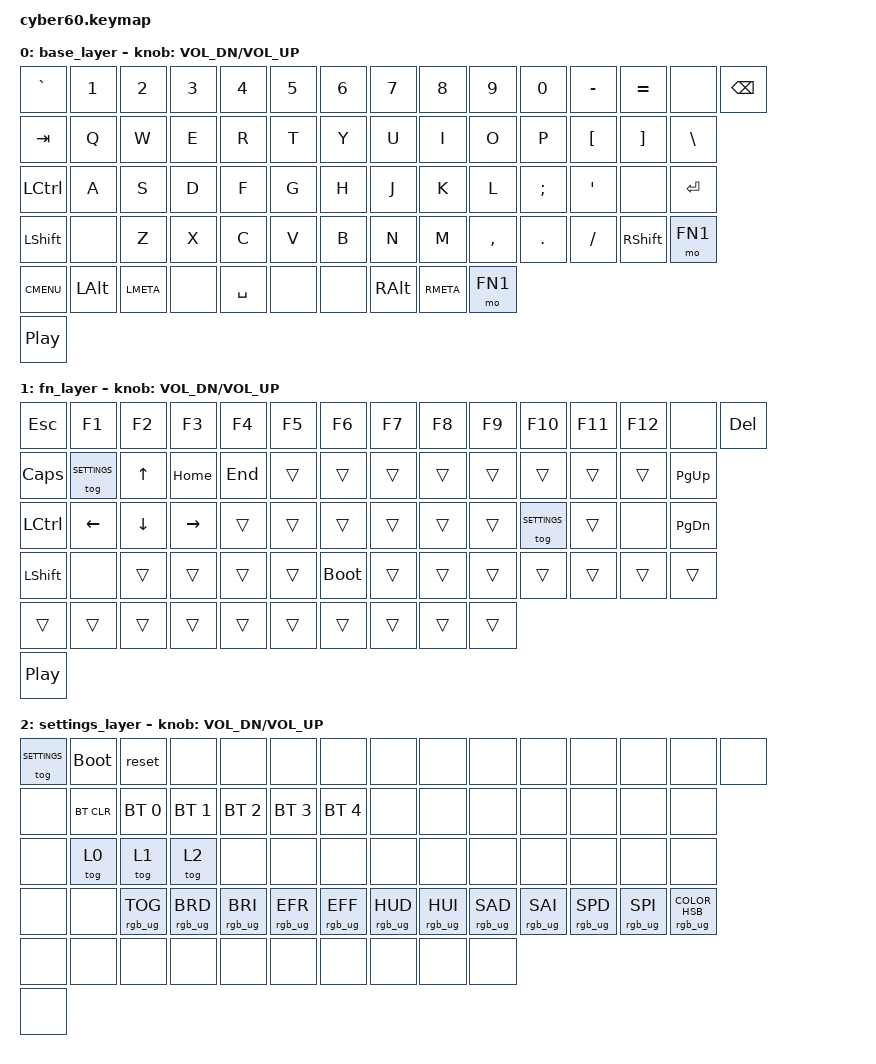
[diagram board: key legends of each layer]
#include <behaviors.dtsi>
#include <dt-bindings/zmk/keys.h>
#include <dt-bindings/zmk/bt.h>
#include <dt-bindings/zmk/outputs.h>
#include <dt-bindings/zmk/rgb.h>
#include <dt-bindings/zmk/ext_power.h>

#define FN1 1
#define SETTINGS 2

/ {
	keymap {
		compatible = "zmk,keymap";
		base_layer {
// ------------------------------------------------------------------------------------------
// |  ~  |  1  |  2  |  3  |  4  |  5  |  6  |  7  |  8  |  9  |  0  |  -  |  =  |   BKSP   |
// | TAB | Q |  W  |  E  |  R  |  T  |  Y  |  U  |  I  |  O  |  P  |  [  |  ]  |   \   |
// |  LCTL  |  A  |  S  |  D  |  F  |  G  |  H  |  J  |  K  |  L  |  ;  |  '  |    ENTER    |
// |  LSFT  | none |  Z  |  X  |  C  |  V  |  B  |  N  |  M  |  ,  |  .  |  /  | RSFT | FN1 |
// |  LMENU  |  LALT  |  LMETA  |              SPC               |  RALT  |  RMETA  |  FN1  |
			bindings = <
	&kp GRAVE	&kp NUM_1	&kp NUM_2	&kp NUM_3	&kp NUM_4	&kp NUM_5	&kp NUM_6	&kp NUM_7	&kp NUM_8	&kp NUM_9	&kp NUM_0	&kp MINUS	&kp EQL		&none	&kp BKSP
	&kp TAB		&kp Q		&kp W		&kp E		&kp R		&kp T		&kp Y		&kp   U		&kp   I		&kp   O		&kp   P		&kp LBKT	&kp RBKT	&kp BSLH
	&kp LCTL  	&kp A		&kp S		&kp D		&kp F		&kp G		&kp H		&kp   J		&kp   K		&kp   L		&kp  SEMI	&kp  SQT	&none		&kp ENTER
	&kp LSHIFT	&none		&kp Z		&kp X		&kp C		&kp V		&kp B		&kp   N		&kp   M		&kp  CMMA	&kp  DOT	&kp  FSLH	&kp RSHIFT	&mo FN1
	&kp K_CMENU	&kp LALT	&kp LMETA	&none		&kp SPACE	&none 	&none		&kp RALT	&kp RMETA	&mo FN1
	&kp C_PP
			>;
			sensor-bindings = <&inc_dec_kp C_VOL_DN C_VOL_UP>;
		};
		fn_layer {
// Function layer
// -------------------------------------------------=-----------------------------------------
// |  ESC  |  1  |  2  |  3  |  4  |  5  |  6  |  7  |  8  |  9  |  0  |  -  |  =  |   DEL   |
// | CLCK | Q |  W  |  E  |  R  |  T  |  Y  |  U  |  I  |  O  |  P  |  [  |  ]  |   \   |
// |  LCTL  |  A  |  S  |  D  |  F  |  G  |  H  |  J  |  K  |  L  |  ;  |  '  |    ENTER    |
// | SHIFT | none |  Z  |  X  |  C  |  V  |  B  |  N  |  M  |  ,  |  .  |  /  | Shift | FN1 |
// |  LMENU  |  LALT  |  LMETA  |              SPACE              |  RALT  |  RWIN  |  FN1  |
			bindings = <
	&kp ESC		&kp F1			&kp F2		&kp F3		&kp F4		&kp F5		&kp F6		&kp F7		&kp F8		&kp F9		&kp F10			&kp F11		&kp F12		&none	&kp DEL
	&kp CAPS	&tog SETTINGS	&kp UP		&kp HOME	&kp END		&trans		&trans		&trans		&trans		&trans		&trans			&trans		&trans		&kp PG_UP
	&kp LCTL	&kp LEFT		&kp DOWN	&kp RIGHT	&trans		&trans		&trans		&trans		&trans		&trans		&tog SETTINGS	&trans		&none		&kp PG_DN
	&kp LSHIFT	&none			&trans		&trans		&trans		&trans		&bootloader	&trans		&trans		&trans		&trans			&trans		&trans		&trans
	&trans		&trans			&trans		&trans		&trans		&trans		&trans		&trans		&trans		&trans
	&kp C_PP
			>;
			sensor-bindings = <&inc_dec_kp C_VOL_DN C_VOL_UP>;
		};
		settings_layer {	
// Settings layer to change keyboard behaviour
// ------------------------------------------------------------------------------------------
// | EXIT|BOOTL| RST | USB | BLE | NON | NON | NON | NON | NON | NON | NON | NON | NON |NON |
// | NON  |BTCLR| BT0 | BT1 | BT2 | BT3 | BT4 | NON | NON | NON | NON | NON | NON |   NON   |
// |  NON  | TOG0| TOG1| TOG2| TOG3| NON | NON | NON | NON | NON | NON | NON | NON |  NON   |
// |  NON | NON |NON| NON | NON | NON | NON | NON | NON | NON | NON | NON |    NON    | NON |
// |   NON  |  NON   |  NON   |   NON  | NON |    NON       |  NON  |  NON  |  NON  |  NON  |
// | Rotary | (<-- Rotary switch) -----------------------------------------------------------
				bindings = <
	&tog SETTINGS		&bootloader		&reset			&none			&none	&none	&none	&none		&none	&none	&none			&none			&none  			&none			&none
	&none	&bt BT_CLR	&bt BT_SEL 0	&bt BT_SEL 1	&bt BT_SEL 2	&bt BT_SEL 3	&bt BT_SEL 4		&none	&none	&none			&none			&none			&none			&none
	&none	&tog 0		&tog 1			&tog 2			&none			&none			&none				&none	&none	&none			&none			&none			&none			&none
	&none	&none		&rgb_ug RGB_TOG	&rgb_ug RGB_BRD	&rgb_ug RGB_BRI	&rgb_ug RGB_EFR	&rgb_ug  RGB_EFF	&rgb_ug RGB_HUD	&rgb_ug RGB_HUI	&rgb_ug RGB_SAD	&rgb_ug RGB_SAI	&rgb_ug RGB_SPD	&rgb_ug RGB_SPI	&rgb_ug RGB_COLOR_HSB(128,100,100)
	&none	&none		&none			&none			&none			&none			&none				&none	&none	&none
	&none
			>;
			sensor-bindings = <&inc_dec_kp C_VOL_DN C_VOL_UP>;
		};

	};
};
